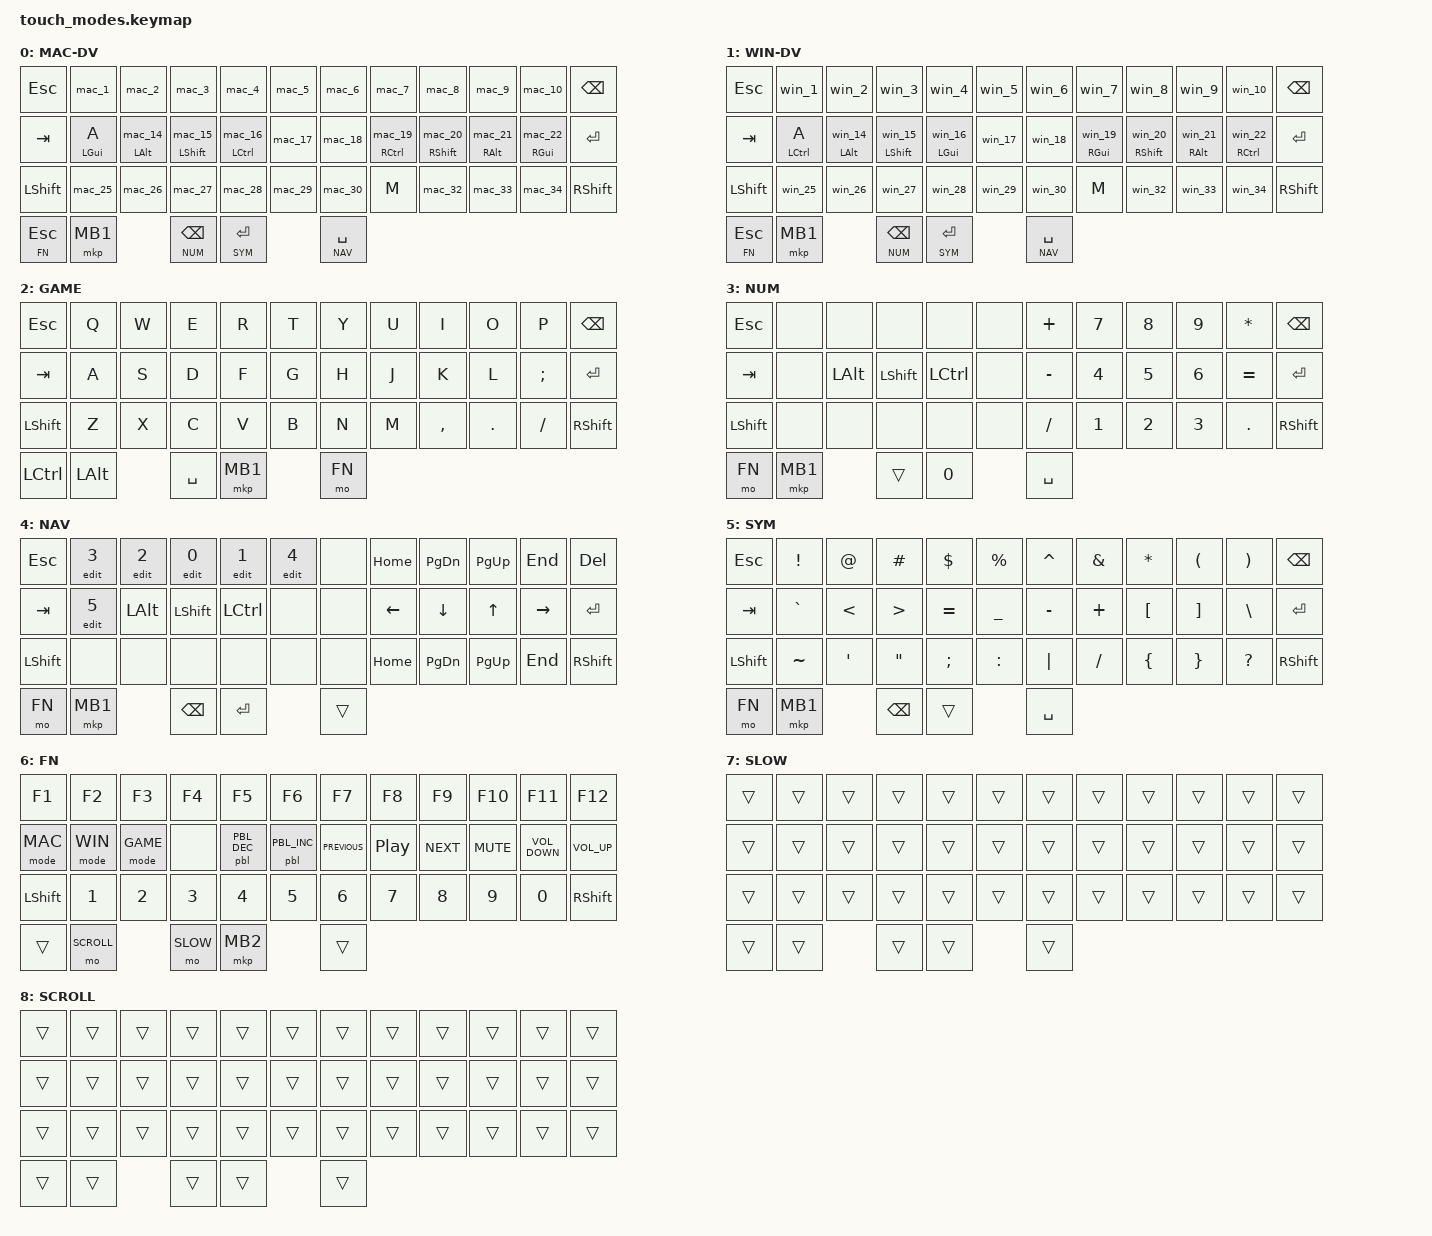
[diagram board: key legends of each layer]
/* Prospector Touch input modes. Layer IDs also used by input_mode.c. */
#include <behaviors.dtsi>
#include <dt-bindings/zmk/keys.h>
#include <dt-bindings/zmk/mouse.h>
#include <behaviors/mouse_keys.dtsi>
#include "keymap_features/prospector_brightness.dtsi"
#define MAC 0
#define WIN 1
#define GAME 2
#define NUM 3
#define NAV 4
#define SYM 5
#define FN 6
#define SLOW 7
#define SCROLL 8
#define LEFT_KEYS 0 1 2 3 4 5 12 13 14 15 16 17 24 25 26 27 28 29 36 37 38
#define RIGHT_KEYS 6 7 8 9 10 11 18 19 20 21 22 23 30 31 32 33 34 35 39 40
/ {
    behaviors {
        mode: input_mode { compatible = "zmk,behavior-prospector-input-mode"; display-name = "Input Mode"; #binding-cells = <1>; };
        edit: shortcut { compatible = "zmk,behavior-prospector-shortcut"; display-name = "OS Shortcut"; #binding-cells = <1>; };
        thumb: thumb_layer { compatible = "zmk,behavior-hold-tap"; #binding-cells = <2>;
            flavor = "tap-preferred"; tapping-term-ms = <200>; quick-tap-ms = <175>;
            bindings = <&mo>, <&kp>; };
        mac_1: mac_position_1 { compatible = "zmk,behavior-mod-morph"; #binding-cells = <0>; display-name = "QUOTE / Q";
            bindings = <&kp SQT>, <&kp Q>; mods = <(MOD_LGUI | MOD_RGUI | MOD_LCTL | MOD_RCTL)>; keep-mods = <(MOD_LGUI | MOD_RGUI | MOD_LCTL | MOD_RCTL)>; };
        mac_2: mac_position_2 { compatible = "zmk,behavior-mod-morph"; #binding-cells = <0>; display-name = ", / W";
            bindings = <&kp COMMA>, <&kp W>; mods = <(MOD_LGUI | MOD_RGUI | MOD_LCTL | MOD_RCTL)>; keep-mods = <(MOD_LGUI | MOD_RGUI | MOD_LCTL | MOD_RCTL)>; };
        mac_3: mac_position_3 { compatible = "zmk,behavior-mod-morph"; #binding-cells = <0>; display-name = ". / E";
            bindings = <&kp DOT>, <&kp E>; mods = <(MOD_LGUI | MOD_RGUI | MOD_LCTL | MOD_RCTL)>; keep-mods = <(MOD_LGUI | MOD_RGUI | MOD_LCTL | MOD_RCTL)>; };
        mac_4: mac_position_4 { compatible = "zmk,behavior-mod-morph"; #binding-cells = <0>; display-name = "P / R";
            bindings = <&kp P>, <&kp R>; mods = <(MOD_LGUI | MOD_RGUI | MOD_LCTL | MOD_RCTL)>; keep-mods = <(MOD_LGUI | MOD_RGUI | MOD_LCTL | MOD_RCTL)>; };
        mac_5: mac_position_5 { compatible = "zmk,behavior-mod-morph"; #binding-cells = <0>; display-name = "Y / T";
            bindings = <&kp Y>, <&kp T>; mods = <(MOD_LGUI | MOD_RGUI | MOD_LCTL | MOD_RCTL)>; keep-mods = <(MOD_LGUI | MOD_RGUI | MOD_LCTL | MOD_RCTL)>; };
        mac_6: mac_position_6 { compatible = "zmk,behavior-mod-morph"; #binding-cells = <0>; display-name = "F / Y";
            bindings = <&kp F>, <&kp Y>; mods = <(MOD_LGUI | MOD_RGUI | MOD_LCTL | MOD_RCTL)>; keep-mods = <(MOD_LGUI | MOD_RGUI | MOD_LCTL | MOD_RCTL)>; };
        mac_7: mac_position_7 { compatible = "zmk,behavior-mod-morph"; #binding-cells = <0>; display-name = "G / U";
            bindings = <&kp G>, <&kp U>; mods = <(MOD_LGUI | MOD_RGUI | MOD_LCTL | MOD_RCTL)>; keep-mods = <(MOD_LGUI | MOD_RGUI | MOD_LCTL | MOD_RCTL)>; };
        mac_8: mac_position_8 { compatible = "zmk,behavior-mod-morph"; #binding-cells = <0>; display-name = "C / I";
            bindings = <&kp C>, <&kp I>; mods = <(MOD_LGUI | MOD_RGUI | MOD_LCTL | MOD_RCTL)>; keep-mods = <(MOD_LGUI | MOD_RGUI | MOD_LCTL | MOD_RCTL)>; };
        mac_9: mac_position_9 { compatible = "zmk,behavior-mod-morph"; #binding-cells = <0>; display-name = "R / O";
            bindings = <&kp R>, <&kp O>; mods = <(MOD_LGUI | MOD_RGUI | MOD_LCTL | MOD_RCTL)>; keep-mods = <(MOD_LGUI | MOD_RGUI | MOD_LCTL | MOD_RCTL)>; };
        mac_10: mac_position_10 { compatible = "zmk,behavior-mod-morph"; #binding-cells = <0>; display-name = "L / P";
            bindings = <&kp L>, <&kp P>; mods = <(MOD_LGUI | MOD_RGUI | MOD_LCTL | MOD_RCTL)>; keep-mods = <(MOD_LGUI | MOD_RGUI | MOD_LCTL | MOD_RCTL)>; };
        mac_14: mac_position_14 { compatible = "zmk,behavior-mod-morph"; #binding-cells = <0>; display-name = "O / S";
            bindings = <&kp O>, <&kp S>; mods = <(MOD_LGUI | MOD_RGUI | MOD_LCTL | MOD_RCTL)>; keep-mods = <(MOD_LGUI | MOD_RGUI | MOD_LCTL | MOD_RCTL)>; };
        mac_15: mac_position_15 { compatible = "zmk,behavior-mod-morph"; #binding-cells = <0>; display-name = "E / D";
            bindings = <&kp E>, <&kp D>; mods = <(MOD_LGUI | MOD_RGUI | MOD_LCTL | MOD_RCTL)>; keep-mods = <(MOD_LGUI | MOD_RGUI | MOD_LCTL | MOD_RCTL)>; };
        mac_16: mac_position_16 { compatible = "zmk,behavior-mod-morph"; #binding-cells = <0>; display-name = "U / F";
            bindings = <&kp U>, <&kp F>; mods = <(MOD_LGUI | MOD_RGUI | MOD_LCTL | MOD_RCTL)>; keep-mods = <(MOD_LGUI | MOD_RGUI | MOD_LCTL | MOD_RCTL)>; };
        mac_17: mac_position_17 { compatible = "zmk,behavior-mod-morph"; #binding-cells = <0>; display-name = "I / G";
            bindings = <&kp I>, <&kp G>; mods = <(MOD_LGUI | MOD_RGUI | MOD_LCTL | MOD_RCTL)>; keep-mods = <(MOD_LGUI | MOD_RGUI | MOD_LCTL | MOD_RCTL)>; };
        mac_18: mac_position_18 { compatible = "zmk,behavior-mod-morph"; #binding-cells = <0>; display-name = "D / H";
            bindings = <&kp D>, <&kp H>; mods = <(MOD_LGUI | MOD_RGUI | MOD_LCTL | MOD_RCTL)>; keep-mods = <(MOD_LGUI | MOD_RGUI | MOD_LCTL | MOD_RCTL)>; };
        mac_19: mac_position_19 { compatible = "zmk,behavior-mod-morph"; #binding-cells = <0>; display-name = "H / J";
            bindings = <&kp H>, <&kp J>; mods = <(MOD_LGUI | MOD_RGUI | MOD_LCTL | MOD_RCTL)>; keep-mods = <(MOD_LGUI | MOD_RGUI | MOD_LCTL | MOD_RCTL)>; };
        mac_20: mac_position_20 { compatible = "zmk,behavior-mod-morph"; #binding-cells = <0>; display-name = "T / K";
            bindings = <&kp T>, <&kp K>; mods = <(MOD_LGUI | MOD_RGUI | MOD_LCTL | MOD_RCTL)>; keep-mods = <(MOD_LGUI | MOD_RGUI | MOD_LCTL | MOD_RCTL)>; };
        mac_21: mac_position_21 { compatible = "zmk,behavior-mod-morph"; #binding-cells = <0>; display-name = "N / L";
            bindings = <&kp N>, <&kp L>; mods = <(MOD_LGUI | MOD_RGUI | MOD_LCTL | MOD_RCTL)>; keep-mods = <(MOD_LGUI | MOD_RGUI | MOD_LCTL | MOD_RCTL)>; };
        mac_22: mac_position_22 { compatible = "zmk,behavior-mod-morph"; #binding-cells = <0>; display-name = "S / ;";
            bindings = <&kp S>, <&kp SEMI>; mods = <(MOD_LGUI | MOD_RGUI | MOD_LCTL | MOD_RCTL)>; keep-mods = <(MOD_LGUI | MOD_RGUI | MOD_LCTL | MOD_RCTL)>; };
        mac_25: mac_position_25 { compatible = "zmk,behavior-mod-morph"; #binding-cells = <0>; display-name = "; / Z";
            bindings = <&kp SEMI>, <&kp Z>; mods = <(MOD_LGUI | MOD_RGUI | MOD_LCTL | MOD_RCTL)>; keep-mods = <(MOD_LGUI | MOD_RGUI | MOD_LCTL | MOD_RCTL)>; };
        mac_26: mac_position_26 { compatible = "zmk,behavior-mod-morph"; #binding-cells = <0>; display-name = "Q / X";
            bindings = <&kp Q>, <&kp X>; mods = <(MOD_LGUI | MOD_RGUI | MOD_LCTL | MOD_RCTL)>; keep-mods = <(MOD_LGUI | MOD_RGUI | MOD_LCTL | MOD_RCTL)>; };
        mac_27: mac_position_27 { compatible = "zmk,behavior-mod-morph"; #binding-cells = <0>; display-name = "J / C";
            bindings = <&kp J>, <&kp C>; mods = <(MOD_LGUI | MOD_RGUI | MOD_LCTL | MOD_RCTL)>; keep-mods = <(MOD_LGUI | MOD_RGUI | MOD_LCTL | MOD_RCTL)>; };
        mac_28: mac_position_28 { compatible = "zmk,behavior-mod-morph"; #binding-cells = <0>; display-name = "K / V";
            bindings = <&kp K>, <&kp V>; mods = <(MOD_LGUI | MOD_RGUI | MOD_LCTL | MOD_RCTL)>; keep-mods = <(MOD_LGUI | MOD_RGUI | MOD_LCTL | MOD_RCTL)>; };
        mac_29: mac_position_29 { compatible = "zmk,behavior-mod-morph"; #binding-cells = <0>; display-name = "X / B";
            bindings = <&kp X>, <&kp B>; mods = <(MOD_LGUI | MOD_RGUI | MOD_LCTL | MOD_RCTL)>; keep-mods = <(MOD_LGUI | MOD_RGUI | MOD_LCTL | MOD_RCTL)>; };
        mac_30: mac_position_30 { compatible = "zmk,behavior-mod-morph"; #binding-cells = <0>; display-name = "B / N";
            bindings = <&kp B>, <&kp N>; mods = <(MOD_LGUI | MOD_RGUI | MOD_LCTL | MOD_RCTL)>; keep-mods = <(MOD_LGUI | MOD_RGUI | MOD_LCTL | MOD_RCTL)>; };
        mac_32: mac_position_32 { compatible = "zmk,behavior-mod-morph"; #binding-cells = <0>; display-name = "W / ,";
            bindings = <&kp W>, <&kp COMMA>; mods = <(MOD_LGUI | MOD_RGUI | MOD_LCTL | MOD_RCTL)>; keep-mods = <(MOD_LGUI | MOD_RGUI | MOD_LCTL | MOD_RCTL)>; };
        mac_33: mac_position_33 { compatible = "zmk,behavior-mod-morph"; #binding-cells = <0>; display-name = "V / .";
            bindings = <&kp V>, <&kp DOT>; mods = <(MOD_LGUI | MOD_RGUI | MOD_LCTL | MOD_RCTL)>; keep-mods = <(MOD_LGUI | MOD_RGUI | MOD_LCTL | MOD_RCTL)>; };
        mac_34: mac_position_34 { compatible = "zmk,behavior-mod-morph"; #binding-cells = <0>; display-name = "Z / /";
            bindings = <&kp Z>, <&kp FSLH>; mods = <(MOD_LGUI | MOD_RGUI | MOD_LCTL | MOD_RCTL)>; keep-mods = <(MOD_LGUI | MOD_RGUI | MOD_LCTL | MOD_RCTL)>; };
        mac_hrm_13: mac_home_13 { compatible = "zmk,behavior-hold-tap"; #binding-cells = <2>;
            flavor = "balanced"; tapping-term-ms = <280>; quick-tap-ms = <175>; require-prior-idle-ms = <150>;
            bindings = <&kp>, <&kp>;
            hold-trigger-key-positions = <RIGHT_KEYS>;
            hold-trigger-on-release; };
        mac_hrm_14: mac_home_14 { compatible = "zmk,behavior-hold-tap"; #binding-cells = <2>;
            flavor = "balanced"; tapping-term-ms = <280>; quick-tap-ms = <175>; require-prior-idle-ms = <150>;
            bindings = <&kp>, <&mac_14>;
            hold-trigger-key-positions = <RIGHT_KEYS>;
            hold-trigger-on-release; };
        mac_hrm_15: mac_home_15 { compatible = "zmk,behavior-hold-tap"; #binding-cells = <2>;
            flavor = "balanced"; tapping-term-ms = <280>; quick-tap-ms = <175>; require-prior-idle-ms = <150>;
            bindings = <&kp>, <&mac_15>;
            hold-trigger-key-positions = <RIGHT_KEYS>;
            hold-trigger-on-release; };
        mac_hrm_16: mac_home_16 { compatible = "zmk,behavior-hold-tap"; #binding-cells = <2>;
            flavor = "balanced"; tapping-term-ms = <280>; quick-tap-ms = <175>; require-prior-idle-ms = <150>;
            bindings = <&kp>, <&mac_16>;
            hold-trigger-key-positions = <RIGHT_KEYS>;
            hold-trigger-on-release; };
        mac_hrm_19: mac_home_19 { compatible = "zmk,behavior-hold-tap"; #binding-cells = <2>;
            flavor = "balanced"; tapping-term-ms = <280>; quick-tap-ms = <175>; require-prior-idle-ms = <150>;
            bindings = <&kp>, <&mac_19>;
            hold-trigger-key-positions = <LEFT_KEYS>;
            hold-trigger-on-release; };
        mac_hrm_20: mac_home_20 { compatible = "zmk,behavior-hold-tap"; #binding-cells = <2>;
            flavor = "balanced"; tapping-term-ms = <280>; quick-tap-ms = <175>; require-prior-idle-ms = <150>;
            bindings = <&kp>, <&mac_20>;
            hold-trigger-key-positions = <LEFT_KEYS>;
            hold-trigger-on-release; };
        mac_hrm_21: mac_home_21 { compatible = "zmk,behavior-hold-tap"; #binding-cells = <2>;
            flavor = "balanced"; tapping-term-ms = <280>; quick-tap-ms = <175>; require-prior-idle-ms = <150>;
            bindings = <&kp>, <&mac_21>;
            hold-trigger-key-positions = <LEFT_KEYS>;
            hold-trigger-on-release; };
        mac_hrm_22: mac_home_22 { compatible = "zmk,behavior-hold-tap"; #binding-cells = <2>;
            flavor = "balanced"; tapping-term-ms = <280>; quick-tap-ms = <175>; require-prior-idle-ms = <150>;
            bindings = <&kp>, <&mac_22>;
            hold-trigger-key-positions = <LEFT_KEYS>;
            hold-trigger-on-release; };
        win_1: win_position_1 { compatible = "zmk,behavior-mod-morph"; #binding-cells = <0>; display-name = "QUOTE / Q";
            bindings = <&kp SQT>, <&kp Q>; mods = <(MOD_LCTL | MOD_RCTL)>; keep-mods = <(MOD_LCTL | MOD_RCTL)>; };
        win_2: win_position_2 { compatible = "zmk,behavior-mod-morph"; #binding-cells = <0>; display-name = ", / W";
            bindings = <&kp COMMA>, <&kp W>; mods = <(MOD_LCTL | MOD_RCTL)>; keep-mods = <(MOD_LCTL | MOD_RCTL)>; };
        win_3: win_position_3 { compatible = "zmk,behavior-mod-morph"; #binding-cells = <0>; display-name = ". / E";
            bindings = <&kp DOT>, <&kp E>; mods = <(MOD_LCTL | MOD_RCTL)>; keep-mods = <(MOD_LCTL | MOD_RCTL)>; };
        win_4: win_position_4 { compatible = "zmk,behavior-mod-morph"; #binding-cells = <0>; display-name = "P / R";
            bindings = <&kp P>, <&kp R>; mods = <(MOD_LCTL | MOD_RCTL)>; keep-mods = <(MOD_LCTL | MOD_RCTL)>; };
        win_5: win_position_5 { compatible = "zmk,behavior-mod-morph"; #binding-cells = <0>; display-name = "Y / T";
            bindings = <&kp Y>, <&kp T>; mods = <(MOD_LCTL | MOD_RCTL)>; keep-mods = <(MOD_LCTL | MOD_RCTL)>; };
        win_6: win_position_6 { compatible = "zmk,behavior-mod-morph"; #binding-cells = <0>; display-name = "F / Y";
            bindings = <&kp F>, <&kp Y>; mods = <(MOD_LCTL | MOD_RCTL)>; keep-mods = <(MOD_LCTL | MOD_RCTL)>; };
        win_7: win_position_7 { compatible = "zmk,behavior-mod-morph"; #binding-cells = <0>; display-name = "G / U";
            bindings = <&kp G>, <&kp U>; mods = <(MOD_LCTL | MOD_RCTL)>; keep-mods = <(MOD_LCTL | MOD_RCTL)>; };
        win_8: win_position_8 { compatible = "zmk,behavior-mod-morph"; #binding-cells = <0>; display-name = "C / I";
            bindings = <&kp C>, <&kp I>; mods = <(MOD_LCTL | MOD_RCTL)>; keep-mods = <(MOD_LCTL | MOD_RCTL)>; };
        win_9: win_position_9 { compatible = "zmk,behavior-mod-morph"; #binding-cells = <0>; display-name = "R / O";
            bindings = <&kp R>, <&kp O>; mods = <(MOD_LCTL | MOD_RCTL)>; keep-mods = <(MOD_LCTL | MOD_RCTL)>; };
        win_10: win_position_10 { compatible = "zmk,behavior-mod-morph"; #binding-cells = <0>; display-name = "L / P";
            bindings = <&kp L>, <&kp P>; mods = <(MOD_LCTL | MOD_RCTL)>; keep-mods = <(MOD_LCTL | MOD_RCTL)>; };
        win_14: win_position_14 { compatible = "zmk,behavior-mod-morph"; #binding-cells = <0>; display-name = "O / S";
            bindings = <&kp O>, <&kp S>; mods = <(MOD_LCTL | MOD_RCTL)>; keep-mods = <(MOD_LCTL | MOD_RCTL)>; };
        win_15: win_position_15 { compatible = "zmk,behavior-mod-morph"; #binding-cells = <0>; display-name = "E / D";
            bindings = <&kp E>, <&kp D>; mods = <(MOD_LCTL | MOD_RCTL)>; keep-mods = <(MOD_LCTL | MOD_RCTL)>; };
        win_16: win_position_16 { compatible = "zmk,behavior-mod-morph"; #binding-cells = <0>; display-name = "U / F";
            bindings = <&kp U>, <&kp F>; mods = <(MOD_LCTL | MOD_RCTL)>; keep-mods = <(MOD_LCTL | MOD_RCTL)>; };
        win_17: win_position_17 { compatible = "zmk,behavior-mod-morph"; #binding-cells = <0>; display-name = "I / G";
            bindings = <&kp I>, <&kp G>; mods = <(MOD_LCTL | MOD_RCTL)>; keep-mods = <(MOD_LCTL | MOD_RCTL)>; };
        win_18: win_position_18 { compatible = "zmk,behavior-mod-morph"; #binding-cells = <0>; display-name = "D / H";
            bindings = <&kp D>, <&kp H>; mods = <(MOD_LCTL | MOD_RCTL)>; keep-mods = <(MOD_LCTL | MOD_RCTL)>; };
        win_19: win_position_19 { compatible = "zmk,behavior-mod-morph"; #binding-cells = <0>; display-name = "H / J";
            bindings = <&kp H>, <&kp J>; mods = <(MOD_LCTL | MOD_RCTL)>; keep-mods = <(MOD_LCTL | MOD_RCTL)>; };
        win_20: win_position_20 { compatible = "zmk,behavior-mod-morph"; #binding-cells = <0>; display-name = "T / K";
            bindings = <&kp T>, <&kp K>; mods = <(MOD_LCTL | MOD_RCTL)>; keep-mods = <(MOD_LCTL | MOD_RCTL)>; };
        win_21: win_position_21 { compatible = "zmk,behavior-mod-morph"; #binding-cells = <0>; display-name = "N / L";
            bindings = <&kp N>, <&kp L>; mods = <(MOD_LCTL | MOD_RCTL)>; keep-mods = <(MOD_LCTL | MOD_RCTL)>; };
        win_22: win_position_22 { compatible = "zmk,behavior-mod-morph"; #binding-cells = <0>; display-name = "S / ;";
            bindings = <&kp S>, <&kp SEMI>; mods = <(MOD_LCTL | MOD_RCTL)>; keep-mods = <(MOD_LCTL | MOD_RCTL)>; };
        win_25: win_position_25 { compatible = "zmk,behavior-mod-morph"; #binding-cells = <0>; display-name = "; / Z";
            bindings = <&kp SEMI>, <&kp Z>; mods = <(MOD_LCTL | MOD_RCTL)>; keep-mods = <(MOD_LCTL | MOD_RCTL)>; };
        win_26: win_position_26 { compatible = "zmk,behavior-mod-morph"; #binding-cells = <0>; display-name = "Q / X";
            bindings = <&kp Q>, <&kp X>; mods = <(MOD_LCTL | MOD_RCTL)>; keep-mods = <(MOD_LCTL | MOD_RCTL)>; };
        win_27: win_position_27 { compatible = "zmk,behavior-mod-morph"; #binding-cells = <0>; display-name = "J / C";
            bindings = <&kp J>, <&kp C>; mods = <(MOD_LCTL | MOD_RCTL)>; keep-mods = <(MOD_LCTL | MOD_RCTL)>; };
        win_28: win_position_28 { compatible = "zmk,behavior-mod-morph"; #binding-cells = <0>; display-name = "K / V";
            bindings = <&kp K>, <&kp V>; mods = <(MOD_LCTL | MOD_RCTL)>; keep-mods = <(MOD_LCTL | MOD_RCTL)>; };
        win_29: win_position_29 { compatible = "zmk,behavior-mod-morph"; #binding-cells = <0>; display-name = "X / B";
            bindings = <&kp X>, <&kp B>; mods = <(MOD_LCTL | MOD_RCTL)>; keep-mods = <(MOD_LCTL | MOD_RCTL)>; };
        win_30: win_position_30 { compatible = "zmk,behavior-mod-morph"; #binding-cells = <0>; display-name = "B / N";
            bindings = <&kp B>, <&kp N>; mods = <(MOD_LCTL | MOD_RCTL)>; keep-mods = <(MOD_LCTL | MOD_RCTL)>; };
        win_32: win_position_32 { compatible = "zmk,behavior-mod-morph"; #binding-cells = <0>; display-name = "W / ,";
            bindings = <&kp W>, <&kp COMMA>; mods = <(MOD_LCTL | MOD_RCTL)>; keep-mods = <(MOD_LCTL | MOD_RCTL)>; };
        win_33: win_position_33 { compatible = "zmk,behavior-mod-morph"; #binding-cells = <0>; display-name = "V / .";
            bindings = <&kp V>, <&kp DOT>; mods = <(MOD_LCTL | MOD_RCTL)>; keep-mods = <(MOD_LCTL | MOD_RCTL)>; };
        win_34: win_position_34 { compatible = "zmk,behavior-mod-morph"; #binding-cells = <0>; display-name = "Z / /";
            bindings = <&kp Z>, <&kp FSLH>; mods = <(MOD_LCTL | MOD_RCTL)>; keep-mods = <(MOD_LCTL | MOD_RCTL)>; };
        win_hrm_13: win_home_13 { compatible = "zmk,behavior-hold-tap"; #binding-cells = <2>;
            flavor = "balanced"; tapping-term-ms = <280>; quick-tap-ms = <175>; require-prior-idle-ms = <150>;
            bindings = <&kp>, <&kp>;
            hold-trigger-key-positions = <RIGHT_KEYS>;
            hold-trigger-on-release; };
        win_hrm_14: win_home_14 { compatible = "zmk,behavior-hold-tap"; #binding-cells = <2>;
            flavor = "balanced"; tapping-term-ms = <280>; quick-tap-ms = <175>; require-prior-idle-ms = <150>;
            bindings = <&kp>, <&win_14>;
            hold-trigger-key-positions = <RIGHT_KEYS>;
            hold-trigger-on-release; };
        win_hrm_15: win_home_15 { compatible = "zmk,behavior-hold-tap"; #binding-cells = <2>;
            flavor = "balanced"; tapping-term-ms = <280>; quick-tap-ms = <175>; require-prior-idle-ms = <150>;
            bindings = <&kp>, <&win_15>;
            hold-trigger-key-positions = <RIGHT_KEYS>;
            hold-trigger-on-release; };
        win_hrm_16: win_home_16 { compatible = "zmk,behavior-hold-tap"; #binding-cells = <2>;
            flavor = "balanced"; tapping-term-ms = <280>; quick-tap-ms = <175>; require-prior-idle-ms = <150>;
            bindings = <&kp>, <&win_16>;
            hold-trigger-key-positions = <RIGHT_KEYS>;
            hold-trigger-on-release; };
        win_hrm_19: win_home_19 { compatible = "zmk,behavior-hold-tap"; #binding-cells = <2>;
            flavor = "balanced"; tapping-term-ms = <280>; quick-tap-ms = <175>; require-prior-idle-ms = <150>;
            bindings = <&kp>, <&win_19>;
            hold-trigger-key-positions = <LEFT_KEYS>;
            hold-trigger-on-release; };
        win_hrm_20: win_home_20 { compatible = "zmk,behavior-hold-tap"; #binding-cells = <2>;
            flavor = "balanced"; tapping-term-ms = <280>; quick-tap-ms = <175>; require-prior-idle-ms = <150>;
            bindings = <&kp>, <&win_20>;
            hold-trigger-key-positions = <LEFT_KEYS>;
            hold-trigger-on-release; };
        win_hrm_21: win_home_21 { compatible = "zmk,behavior-hold-tap"; #binding-cells = <2>;
            flavor = "balanced"; tapping-term-ms = <280>; quick-tap-ms = <175>; require-prior-idle-ms = <150>;
            bindings = <&kp>, <&win_21>;
            hold-trigger-key-positions = <LEFT_KEYS>;
            hold-trigger-on-release; };
        win_hrm_22: win_home_22 { compatible = "zmk,behavior-hold-tap"; #binding-cells = <2>;
            flavor = "balanced"; tapping-term-ms = <280>; quick-tap-ms = <175>; require-prior-idle-ms = <150>;
            bindings = <&kp>, <&win_22>;
            hold-trigger-key-positions = <LEFT_KEYS>;
            hold-trigger-on-release; };
    };
    keymap { compatible = "zmk,keymap";
        mac-dv { display-name = "MAC-DV"; bindings = <
            &kp ESC  &mac_1  &mac_2  &mac_3  &mac_4  &mac_5  &mac_6  &mac_7  &mac_8  &mac_9  &mac_10  &kp BSPC
            &kp TAB  &mac_hrm_13 LGUI A  &mac_hrm_14 LALT 0  &mac_hrm_15 LSHFT 0  &mac_hrm_16 LCTRL 0  &mac_17  &mac_18  &mac_hrm_19 RCTRL 0  &mac_hrm_20 RSHFT 0  &mac_hrm_21 RALT 0  &mac_hrm_22 RGUI 0  &kp ENTER
            &kp LSHFT  &mac_25  &mac_26  &mac_27  &mac_28  &mac_29  &mac_30  &kp M  &mac_32  &mac_33  &mac_34  &kp RSHFT
            &thumb FN ESC  &mkp MB1  &thumb NUM BSPC  &thumb SYM ENTER  &thumb NAV SPACE
        >; };
        win-dv { display-name = "WIN-DV"; bindings = <
            &kp ESC  &win_1  &win_2  &win_3  &win_4  &win_5  &win_6  &win_7  &win_8  &win_9  &win_10  &kp BSPC
            &kp TAB  &win_hrm_13 LCTRL A  &win_hrm_14 LALT 0  &win_hrm_15 LSHFT 0  &win_hrm_16 LGUI 0  &win_17  &win_18  &win_hrm_19 RGUI 0  &win_hrm_20 RSHFT 0  &win_hrm_21 RALT 0  &win_hrm_22 RCTRL 0  &kp ENTER
            &kp LSHFT  &win_25  &win_26  &win_27  &win_28  &win_29  &win_30  &kp M  &win_32  &win_33  &win_34  &kp RSHFT
            &thumb FN ESC  &mkp MB1  &thumb NUM BSPC  &thumb SYM ENTER  &thumb NAV SPACE
        >; };
        game { display-name = "GAME"; bindings = <
            &kp ESC  &kp Q  &kp W  &kp E  &kp R  &kp T  &kp Y  &kp U  &kp I  &kp O  &kp P  &kp BSPC
            &kp TAB  &kp A  &kp S  &kp D  &kp F  &kp G  &kp H  &kp J  &kp K  &kp L  &kp SEMI  &kp ENTER
            &kp LSHFT  &kp Z  &kp X  &kp C  &kp V  &kp B  &kp N  &kp M  &kp COMMA  &kp DOT  &kp FSLH  &kp RSHFT
            &kp LCTRL  &kp LALT  &kp SPACE  &mkp MB1  &mo FN
        >; };
        num { display-name = "NUM"; bindings = <
            &kp ESC  &none  &none  &none  &none  &none  &kp PLUS  &kp N7  &kp N8  &kp N9  &kp STAR  &kp BSPC
            &kp TAB  &none  &kp LALT  &kp LSHFT  &kp LCTRL  &none  &kp MINUS  &kp N4  &kp N5  &kp N6  &kp EQUAL  &kp ENTER
            &kp LSHFT  &none  &none  &none  &none  &none  &kp FSLH  &kp N1  &kp N2  &kp N3  &kp DOT  &kp RSHFT
            &mo FN  &mkp MB1  &trans  &kp N0  &kp SPACE
        >; };
        nav { display-name = "NAV"; bindings = <
            &kp ESC  &edit 3  &edit 2  &edit 0  &edit 1  &edit 4  &none  &kp HOME  &kp PG_DN  &kp PG_UP  &kp END  &kp DEL
            &kp TAB  &edit 5  &kp LALT  &kp LSHFT  &kp LCTRL  &none  &none  &kp LEFT  &kp DOWN  &kp UP  &kp RIGHT  &kp ENTER
            &kp LSHFT  &none  &none  &none  &none  &none  &none  &kp HOME  &kp PG_DN  &kp PG_UP  &kp END  &kp RSHFT
            &mo FN  &mkp MB1  &kp BSPC  &kp ENTER  &trans
        >; };
        sym { display-name = "SYM"; bindings = <
            &kp ESC  &kp EXCL  &kp AT  &kp HASH  &kp DLLR  &kp PRCNT  &kp CARET  &kp AMPS  &kp STAR  &kp LPAR  &kp RPAR  &kp BSPC
            &kp TAB  &kp GRAVE  &kp LT  &kp GT  &kp EQUAL  &kp UNDER  &kp MINUS  &kp PLUS  &kp LBKT  &kp RBKT  &kp BSLH  &kp ENTER
            &kp LSHFT  &kp TILDE  &kp SQT  &kp DQT  &kp SEMI  &kp COLON  &kp PIPE  &kp FSLH  &kp LBRC  &kp RBRC  &kp QMARK  &kp RSHFT
            &mo FN  &mkp MB1  &kp BSPC  &trans  &kp SPACE
        >; };
        fn { display-name = "FN"; bindings = <
            &kp F1  &kp F2  &kp F3  &kp F4  &kp F5  &kp F6  &kp F7  &kp F8  &kp F9  &kp F10  &kp F11  &kp F12
            &mode MAC  &mode WIN  &mode GAME  &none  &pbl PBL_DEC  &pbl PBL_INC  &kp C_PREVIOUS  &kp C_PLAY_PAUSE  &kp C_NEXT  &kp C_MUTE  &kp C_VOLUME_DOWN  &kp C_VOLUME_UP
            &kp LSHFT  &kp N1  &kp N2  &kp N3  &kp N4  &kp N5  &kp N6  &kp N7  &kp N8  &kp N9  &kp N0  &kp RSHFT
            &trans  &mo SCROLL  &mo SLOW  &mkp MB2  &trans
        >; };
        slow { display-name = "SLOW"; bindings = <
            &trans  &trans  &trans  &trans  &trans  &trans  &trans  &trans  &trans  &trans  &trans  &trans
            &trans  &trans  &trans  &trans  &trans  &trans  &trans  &trans  &trans  &trans  &trans  &trans
            &trans  &trans  &trans  &trans  &trans  &trans  &trans  &trans  &trans  &trans  &trans  &trans
            &trans  &trans  &trans  &trans  &trans
        >; };
        scroll { display-name = "SCROLL"; bindings = <
            &trans  &trans  &trans  &trans  &trans  &trans  &trans  &trans  &trans  &trans  &trans  &trans
            &trans  &trans  &trans  &trans  &trans  &trans  &trans  &trans  &trans  &trans  &trans  &trans
            &trans  &trans  &trans  &trans  &trans  &trans  &trans  &trans  &trans  &trans  &trans  &trans
            &trans  &trans  &trans  &trans  &trans
        >; };
    };
};
&scroller { layers = <SCROLL>; };
&slow_pointer { layers = <SLOW>; };
